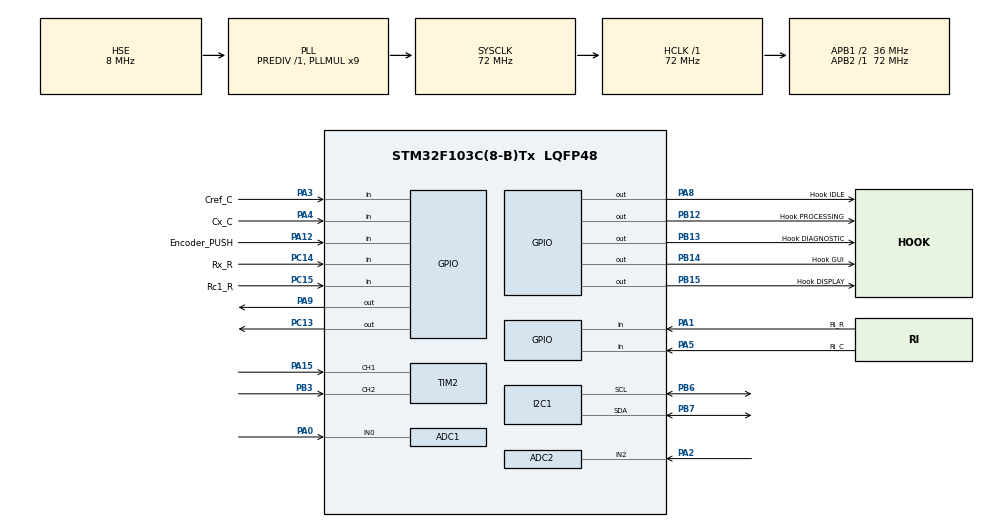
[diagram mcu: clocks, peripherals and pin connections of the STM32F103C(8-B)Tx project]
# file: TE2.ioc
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ADC1.Channel-0\#ChannelRegularConversion=ADC_CHANNEL_0
ADC1.ContinuousConvMode=ENABLE
ADC1.NbrOfConversion=1
ADC1.NbrOfConversionFlag=1
ADC1.Rank-0\#ChannelRegularConversion=1
ADC1.SamplingTime-0\#ChannelRegularConversion=ADC_SAMPLETIME_239CYCLES_5
ADC1.master=1
ADC2.Channel-4\#ChannelRegularConversion=ADC_CHANNEL_2
ADC2.ContinuousConvMode=ENABLE
ADC2.NbrOfConversionFlag=1
ADC2.Rank-4\#ChannelRegularConversion=1
ADC2.SamplingTime-4\#ChannelRegularConversion=ADC_SAMPLETIME_239CYCLES_5
FREERTOS.CountingSemaphores01=myCountingSem01,2,Dynamic,NULL,0
FREERTOS.Queues01=myQueue01,8,screenMsg_t,0,Dynamic,NULL,NULL;diag2display,8,diagnosticMsg_t,0,Dynamic,NULL,NULL;process2display,1,uint16_t,0,Dynamic,NULL,NULL;alerta,2,uint8_t,0,Dynamic,NULL,NULL
FREERTOS.Tasks01=task_DISPLAY,8,190,StartTask_DISPLAY,Default,NULL,Dynamic,NULL,NULL;Task_GUI,16,100,StartTask_GUI,Default,NULL,Dynamic,NULL,NULL;Task_DIAGNOSTIC,24,100,StartTask_DIAGNOSTIC,Default,NULL,Dynamic,NULL,NULL;Task_PROCESSING,32,100,StartTask_PROCESSING,Default,NULL,Dynamic,NULL,NULL
FREERTOS.configCHECK_FOR_STACK_OVERFLOW=1
FREERTOS.configMINIMAL_STACK_SIZE=100
FREERTOS.configRECORD_STACK_HIGH_ADDRESS=1
FREERTOS.configTOTAL_HEAP_SIZE=4096
FREERTOS.configUSE_APPLICATION_TASK_TAG=1
FREERTOS.configUSE_IDLE_HOOK=1
I2C1.I2C_Mode=I2C_Fast
Mcu.Family=STM32F1
Mcu.Name=STM32F103C(8-B)Tx
Mcu.Package=LQFP48
NVIC.PriorityGroup=NVIC_PRIORITYGROUP_4
NVIC.TIM3_IRQn=true\:5\:0\:false\:false\:true\:true\:true\:true\:true
NVIC.TIM4_IRQn=true\:15\:0\:false\:false\:true\:false\:false\:true\:true
NVIC.TimeBase=TIM4_IRQn
NVIC.TimeBaseIP=TIM4
PA0-WKUP.Signal=ADCx_IN0
PA1.GPIO_Label=Ri_R
PA1.Signal=GPIO_Input
PA12.GPIO_Label=Encoder_PUSH
PA12.GPIO_PuPd=GPIO_PULLUP
PA12.Signal=GPIO_Input
PA13.Mode=Serial_Wire
PA13.Signal=SYS_JTMS-SWDIO
PA14.Mode=Serial_Wire
PA14.Signal=SYS_JTCK-SWCLK
PA15.GPIO_PuPd=GPIO_PULLUP
PA15.Signal=S_TIM2_CH1_ETR
PA2.Signal=ADCx_IN2
PA3.GPIO_Label=Cref_C
PA3.Signal=GPIO_Input
PA4.GPIO_Label=Cx_C
PA4.Signal=GPIO_Input
PA5.GPIO_Label=Ri_C
PA5.Signal=GPIO_Input
PA8.GPIO_Label=Hook IDLE
PA8.Signal=GPIO_Output
PA9.Signal=GPIO_Output
PB12.GPIO_Label=Hook PROCESSING
PB12.Signal=GPIO_Output
PB13.GPIO_Label=Hook DIAGNOSTIC
PB13.Signal=GPIO_Output
PB14.GPIO_Label=Hook GUI
PB14.Signal=GPIO_Output
PB15.GPIO_Label=Hook DISPLAY
PB15.Signal=GPIO_Output
PB3.GPIO_PuPd=GPIO_PULLUP
PB3.Signal=S_TIM2_CH2
PB6.Mode=I2C
PB6.Signal=I2C1_SCL
PB7.Mode=I2C
PB7.Signal=I2C1_SDA
PC13-TAMPER-RTC.GPIO_PuPd=GPIO_PULLUP
PC13-TAMPER-RTC.Signal=GPIO_Output
PC14-OSC32_IN.GPIO_Label=Rx_R
PC14-OSC32_IN.Signal=GPIO_Input
PC15-OSC32_OUT.GPIO_Label=Rc1_R
PC15-OSC32_OUT.Signal=GPIO_Input
PD0-OSC_IN.Mode=HSE-External-Oscillator
PD0-OSC_IN.Signal=RCC_OSC_IN
PD1-OSC_OUT.Mode=HSE-External-Oscillator
PD1-OSC_OUT.Signal=RCC_OSC_OUT
ProjectManager.HeapSize=0x200
ProjectManager.StackSize=0x400
ProjectManager.TargetToolchain=STM32CubeIDE
RCC.ADCPresc=RCC_ADCPCLK2_DIV6
RCC.AHBFreq_Value=72000000
RCC.APB1CLKDivider=RCC_HCLK_DIV2
RCC.APB1Freq_Value=36000000
RCC.APB1TimFreq_Value=72000000
RCC.APB2Freq_Value=72000000
RCC.APB2TimFreq_Value=72000000
RCC.HCLKFreq_Value=72000000
RCC.PLLMUL=RCC_PLL_MUL9
RCC.PLLSourceVirtual=RCC_PLLSOURCE_HSE
RCC.SYSCLKFreq_VALUE=72000000
RCC.SYSCLKSource=RCC_SYSCLKSOURCE_PLLCLK
RCC.USBFreq_Value=72000000
SH.ADCx_IN0.0=ADC1_IN0,IN0
SH.ADCx_IN2.0=ADC2_IN2,IN2
SH.S_TIM2_CH1_ETR.0=TIM2_CH1,Encoder_Interface
SH.S_TIM2_CH2.0=TIM2_CH2,Encoder_Interface
TIM2.EncoderMode=TIM_ENCODERMODE_TI12
TIM2.IC1Filter=10
TIM2.IC1Polarity=TIM_ICPOLARITY_RISING
TIM2.IC2Filter=10
TIM2.IC2Polarity=TIM_ICPOLARITY_RISING
TIM3.Period=1151
TIM3.Prescaler=0
VP_FREERTOS_VS_CMSIS_V2.Mode=CMSIS_V2
VP_SYS_VS_tim4.Mode=TIM4
VP_TIM3_VS_ClockSourceINT.Mode=Internal
board=custom

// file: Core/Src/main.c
/* USER CODE BEGIN Header */
/**
  ******************************************************************************
  * @file           : main.c
  * @brief          : Main program body
  ******************************************************************************
  * @attention
  *
  * Copyright (c) 2026 STMicroelectronics.
  * All rights reserved.
  *
  * This software is licensed under terms that can be found in the LICENSE file
  * in the root directory of this software component.
  * If no LICENSE file comes with this software, it is provided AS-IS.
  *
  ******************************************************************************
  */
/* USER CODE END Header */
#include "main.h"
#include "cmsis_os.h"

/* USER CODE BEGIN Includes */
#include "ssd1306.h"
#include "fonts.h"
#include <string.h>
#include "stdio.h"
/* USER CODE END Includes */

/* USER CODE BEGIN PTD */
typedef enum{
//	STAGE_NONE,
	STAGE_1,
	STAGE_2,
	STAGE_3,
	STAGE_4
} stage_t;
typedef enum{
	NONE,
	RESISTENCIA,
	CAPACITOR
} parametro_t;

typedef enum {
    STATE_IDLE,
    STATE_MENU,
    STATE_SUBMENU,
    STATE_RUN,
    STATE_DIAGNOSTIC,
} FSMState;

typedef enum{
	alerta_NONE,
	alerta_StackDISPLAY,
	alerta_StackGUI,
	alerta_StackDIAGNOSTIC,
	alerta_StackPROCESSING,
	alerta_HEAP,
	alerta_FU
} codigoERROR;

typedef struct {
	uint16_t WaterMark_DISPLAY;
	uint16_t WaterMark_GUI;
	uint16_t WaterMark_DIAGNOSTIC;
	uint16_t WaterMark_PROCESSING;
	uint16_t stack_DISPLAY;
	uint16_t stack_GUI;
	uint16_t stack_DIAGNOSTIC;
	uint16_t stack_PROCESSING;
	uint16_t libre_HEAP;
	uint16_t FU;
	uint16_t max_HEAP;
	uint16_t max_FU;
} diagnosticMsg_t;

typedef enum {
    EVENT_NINGUNO,
    EVENT_PUSH,
    EVENT_H,
    EVENT_AH,
    EVENT_ERROR
} FSMEvent;

typedef struct {
    FSMState estado;
    uint8_t pagina;
} screenMsg_t;

typedef enum {
	PAG_CONFIG,		//0
	PAG_DIAG,		//1
	PAG_RUN,		//2
	PAG_RES,		//3
	PAG_CAP,		//4
	PAG_T1,			//5
	PAG_T2,			//6
	PAG_T3,			//7
	PAG_T4,			//8
	PAG_HEAP,		//9
	PAG_FACU		//10
}page_t;

typedef enum{
	STAGE_1_R,
	STAGE_2_R,
	STAGE_3_R,
	STAGE_4_R,
	STAGE_1_C,
	STAGE_2_C,
	STAGE_3_C,
	STAGE_4_C
} GPIO_CONFIG;

/* USER CODE END PTD */

/* USER CODE BEGIN PD */

// PERIODICAS
#define DIAG_PERIODO_MS 50
#define GUI_PERIODO_MS 20

// FU
#define SCALING_FACTOR (1000 / DIAG_PERIODO_MS)

// HOOKS
#define GPIO_HOOK_IDLE GPIOA
#define GPIO_HOOK_IDLE_PIN GPIO_PIN_8
#define GPIO_HOOK_DISPLAY GPIOB
#define GPIO_HOOK_DISPLAY_PIN GPIO_PIN_15
#define GPIO_HOOK_GUI GPIOB
#define GPIO_HOOK_GUI_PIN GPIO_PIN_14
#define GPIO_HOOK_DIAGNOSTIC GPIOB
#define GPIO_HOOK_DIAGNOSTIC_PIN GPIO_PIN_13
#define GPIO_HOOK_PROCESSING GPIOB
#define GPIO_HOOK_PROCESSING_PIN GPIO_PIN_12

// GPIOs CONTROL RES
#define GPIO_Rx GPIOC
#define GPIO_Rx_pin GPIO_PIN_14
#define GPIO_Rc1 GPIOC
#define GPIO_Rc1_pin GPIO_PIN_15
#define GPIO_Ri_R GPIOA
#define GPIO_Ri_R_pin GPIO_PIN_1
// GPIOs CONTROL CAP
#define GPIO_Cx GPIOA
#define GPIO_Cx_pin GPIO_PIN_4
#define GPIO_Cref GPIOA
#define GPIO_Cref_pin GPIO_PIN_3
#define GPIO_Ri_C GPIOA
#define GPIO_Ri_C_pin GPIO_PIN_5

// PARA CONFIGURACION DE ADC
#define ADC_MAX (uint16_t)4095
#define ADC_95 (uint16_t)3890        // 12 bits ADC -> [(2^12)-1]0.95 = 3890
#define ADC_63 (uint16_t)2580         // 12 bits ADC -> [(2^12)-1]0.63 = 2580
#define ADC_02 (uint8_t)82             // 12 bits ADC -> [(2^12)-1]*0.63 = 82
#define SAMPLES (uint8_t)32
#define ADC_TMAX_CAP (uint16_t)10000

//PARA ALARMA HEAP, STACK y FU
#define STACK_UMBRAL 5// porcentaje del stack minimo que consideramos limite umbral para msj de error
#define HEAP_UMBRAL	100//
//#define STACK_MAX (uint16_t)10 // Task_PROCESSING_attributes.stack_size/10

#define DEBOUNCE_DELAY 600

#define DIV_2(x) ((x) >> 1)
#define DIV_4(x) ((x) >> 2)

#define WINDOW_SIZE 20

/* USER CODE END PD */

ADC_HandleTypeDef hadc1;
ADC_HandleTypeDef hadc2;

I2C_HandleTypeDef hi2c1;

TIM_HandleTypeDef htim2;
TIM_HandleTypeDef htim3;

/* Definitions for task_DISPLAY */
osThreadId_t task_DISPLAYHandle;
const osThreadAttr_t task_DISPLAY_attributes = {
  .name = "task_DISPLAY",
  .stack_size = 190 * 4,
  .priority = (osPriority_t) osPriorityLow,
};
/* Definitions for Task_GUI */
osThreadId_t Task_GUIHandle;
const osThreadAttr_t Task_GUI_attributes = {
  .name = "Task_GUI",
  .stack_size = 100 * 4,
  .priority = (osPriority_t) osPriorityBelowNormal,
};
/* Definitions for Task_DIAGNOSTIC */
osThreadId_t Task_DIAGNOSTICHandle;
const osThreadAttr_t Task_DIAGNOSTIC_attributes = {
  .name = "Task_DIAGNOSTIC",
  .stack_size = 100 * 4,
  .priority = (osPriority_t) osPriorityNormal,
};
/* Definitions for Task_PROCESSING */
osThreadId_t Task_PROCESSINGHandle;
const osThreadAttr_t Task_PROCESSING_attributes = {
  .name = "Task_PROCESSING",
  .stack_size = 100 * 4,
  .priority = (osPriority_t) osPriorityAboveNormal,
};
/* Definitions for myQueue01 */
osMessageQueueId_t myQueue01Handle;
const osMessageQueueAttr_t myQueue01_attributes = {
  .name = "myQueue01"
};
/* Definitions for diag2display */
osMessageQueueId_t diag2displayHandle;
const osMessageQueueAttr_t diag2display_attributes = {
  .name = "diag2display"
};
/* Definitions for process2display */
osMessageQueueId_t process2displayHandle;
const osMessageQueueAttr_t process2display_attributes = {
  .name = "process2display"
};
/* Definitions for alerta */
osMessageQueueId_t alertaHandle;
const osMessageQueueAttr_t alerta_attributes = {
  .name = "alerta"
};
/* Definitions for myCountingSem01 */
osSemaphoreId_t myCountingSem01Handle;
const osSemaphoreAttr_t myCountingSem01_attributes = {
  .name = "myCountingSem01"
};
/* USER CODE BEGIN PV */
volatile uint32_t counter_global = 0;
volatile float count_Nx_global = 0;
volatile float count_Nc_global = 0;
volatile uint16_t resultado_global = 0;
parametro_t param_a_medir_global = NONE;

uint16_t adc_buffer[WINDOW_SIZE] = {0}; // Inicializado en 0
uint8_t buffer_index = 0;
uint32_t running_sum = 0;               // Debe ser lo suficientemente grande para no desbordarse

volatile page_t page = PAG_CONFIG;       // 0: Config, 1: Diag, 2: Run
//uint32_t libre_DISPLAY;
//uint32_t libre_GUI;
//uint32_t libre_DIAGNOSTIC;
//uint32_t libre_PROCESSING;
//uint32_t libre_HEAP;
//uint32_t FACU;
uint32_t ticks_idle_acumulados;
uint32_t ticks_entrada_idle;
uint32_t ticks_salida_idle;
extern osMessageQueueId_t screenQueueHandle;
//extern osSemaphoreId_t    medicionSemHandle;
/* USER CODE END PV */

void SystemClock_Config(void);
static void MX_GPIO_Init(void);
static void MX_ADC1_Init(void);
static void MX_I2C1_Init(void);
static void MX_TIM2_Init(void);
static void MX_ADC2_Init(void);
static void MX_TIM3_Init(void);
void StartTask_DISPLAY(void *argument);
void StartTask_GUI(void *argument);
void StartTask_DIAGNOSTIC(void *argument);
void StartTask_PROCESSING(void *argument);

/* USER CODE BEGIN PFP */
FSMState fsm_process_event(FSMState current, FSMEvent event);
FSMEvent Leer_Hardware_Encoder(void);
uint8_t SSD1306_remap(uint16_t value);

/* USER CODE END PFP */

int main(void)
{

  /* MCU Configuration--------------------------------------------------------*/

  /* Reset of all peripherals, Initializes the Flash interface and the Systick. */
  HAL_Init();

  /* Configure the system clock */
  SystemClock_Config();

  /* Initialize all configured peripherals */
  MX_GPIO_Init();
  MX_ADC1_Init();
  MX_I2C1_Init();
  MX_TIM2_Init();
  MX_ADC2_Init();
  MX_TIM3_Init();
  /* USER CODE BEGIN 2 */
//  HAL_TIM_Encoder_Start(&htim2, TIM_CHANNEL_ALL);
  //SSD1306_Init();
  /* USER CODE END 2 */

  /* Init scheduler */
  osKernelInitialize();

  /* Create the semaphores(s) */
  /* creation of myCountingSem01 */
  myCountingSem01Handle = osSemaphoreNew(2, 0, &myCountingSem01_attributes);

  /* Create the queue(s) */
  /* creation of myQueue01 */
  myQueue01Handle = osMessageQueueNew (8, sizeof(screenMsg_t), &myQueue01_attributes);

  /* creation of diag2display */
  diag2displayHandle = osMessageQueueNew (8, sizeof(diagnosticMsg_t), &diag2display_attributes);

  /* creation of process2display */
  process2displayHandle = osMessageQueueNew (1, sizeof(uint16_t), &process2display_attributes);

  /* creation of alerta */
  alertaHandle = osMessageQueueNew (2, sizeof(uint8_t), &alerta_attributes);

  /* Create the thread(s) */
  /* creation of task_DISPLAY */
  task_DISPLAYHandle = osThreadNew(StartTask_DISPLAY, NULL, &task_DISPLAY_attributes);

  /* creation of Task_GUI */
  Task_GUIHandle = osThreadNew(StartTask_GUI, NULL, &Task_GUI_attributes);

  /* creation of Task_DIAGNOSTIC */
  Task_DIAGNOSTICHandle = osThreadNew(StartTask_DIAGNOSTIC, NULL, &Task_DIAGNOSTIC_attributes);

  /* creation of Task_PROCESSING */
  Task_PROCESSINGHandle = osThreadNew(StartTask_PROCESSING, NULL, &Task_PROCESSING_attributes);

  /* Start scheduler */
  osKernelStart();

  /* We should never get here as control is now taken by the scheduler */

  /* Infinite loop */
  while (1)
  {

  }
}

void SystemClock_Config(void)
{
  RCC_OscInitTypeDef RCC_OscInitStruct = {0};
  RCC_ClkInitTypeDef RCC_ClkInitStruct = {0};
  RCC_PeriphCLKInitTypeDef PeriphClkInit = {0};

  /** Initializes the RCC Oscillators according to the specified parameters
  * in the RCC_OscInitTypeDef structure.
  */
  RCC_OscInitStruct.OscillatorType = RCC_OSCILLATORTYPE_HSE;
  RCC_OscInitStruct.HSEState = RCC_HSE_ON;
  RCC_OscInitStruct.HSEPredivValue = RCC_HSE_PREDIV_DIV1;
  RCC_OscInitStruct.HSIState = RCC_HSI_ON;
  RCC_OscInitStruct.PLL.PLLState = RCC_PLL_ON;
  RCC_OscInitStruct.PLL.PLLSource = RCC_PLLSOURCE_HSE;
  RCC_OscInitStruct.PLL.PLLMUL = RCC_PLL_MUL9;
  if (HAL_RCC_OscConfig(&RCC_OscInitStruct) != HAL_OK)
  {
    Error_Handler();
  }

  /** Initializes the CPU, AHB and APB buses clocks
  */
  RCC_ClkInitStruct.ClockType = RCC_CLOCKTYPE_HCLK|RCC_CLOCKTYPE_SYSCLK
                              |RCC_CLOCKTYPE_PCLK1|RCC_CLOCKTYPE_PCLK2;
  RCC_ClkInitStruct.SYSCLKSource = RCC_SYSCLKSOURCE_PLLCLK;
  RCC_ClkInitStruct.AHBCLKDivider = RCC_SYSCLK_DIV1;
  RCC_ClkInitStruct.APB1CLKDivider = RCC_HCLK_DIV2;
  RCC_ClkInitStruct.APB2CLKDivider = RCC_HCLK_DIV1;

  if (HAL_RCC_ClockConfig(&RCC_ClkInitStruct, FLASH_LATENCY_2) != HAL_OK)
  {
    Error_Handler();
  }
  PeriphClkInit.PeriphClockSelection = RCC_PERIPHCLK_ADC;
  PeriphClkInit.AdcClockSelection = RCC_ADCPCLK2_DIV6;
  if (HAL_RCCEx_PeriphCLKConfig(&PeriphClkInit) != HAL_OK)
  {
    Error_Handler();
  }
}

static void MX_ADC1_Init(void)
{

  ADC_ChannelConfTypeDef sConfig = {0};

  /** Common config
  */
  hadc1.Instance = ADC1;
  hadc1.Init.ScanConvMode = ADC_SCAN_DISABLE;
  hadc1.Init.ContinuousConvMode = ENABLE;
  hadc1.Init.DiscontinuousConvMode = DISABLE;
  hadc1.Init.ExternalTrigConv = ADC_SOFTWARE_START;
  hadc1.Init.DataAlign = ADC_DATAALIGN_RIGHT;
  hadc1.Init.NbrOfConversion = 1;
  if (HAL_ADC_Init(&hadc1) != HAL_OK)
  {
    Error_Handler();
  }

  /** Configure Regular Channel
  */
  sConfig.Channel = ADC_CHANNEL_0;
  sConfig.Rank = ADC_REGULAR_RANK_1;
  sConfig.SamplingTime = ADC_SAMPLETIME_239CYCLES_5;
  if (HAL_ADC_ConfigChannel(&hadc1, &sConfig) != HAL_OK)
  {
    Error_Handler();
  }

}

static void MX_ADC2_Init(void)
{

  ADC_ChannelConfTypeDef sConfig = {0};

  /** Common config
  */
  hadc2.Instance = ADC2;
  hadc2.Init.ScanConvMode = ADC_SCAN_DISABLE;
  hadc2.Init.ContinuousConvMode = ENABLE;
  hadc2.Init.DiscontinuousConvMode = DISABLE;
  hadc2.Init.ExternalTrigConv = ADC_SOFTWARE_START;
  hadc2.Init.DataAlign = ADC_DATAALIGN_RIGHT;
  hadc2.Init.NbrOfConversion = 1;
  if (HAL_ADC_Init(&hadc2) != HAL_OK)
  {
    Error_Handler();
  }

  /** Configure Regular Channel
  */
  sConfig.Channel = ADC_CHANNEL_2;
  sConfig.Rank = ADC_REGULAR_RANK_1;
  sConfig.SamplingTime = ADC_SAMPLETIME_239CYCLES_5;
  if (HAL_ADC_ConfigChannel(&hadc2, &sConfig) != HAL_OK)
  {
    Error_Handler();
  }

}

static void MX_I2C1_Init(void)
{

  hi2c1.Instance = I2C1;
  hi2c1.Init.ClockSpeed = 400000;
  hi2c1.Init.DutyCycle = I2C_DUTYCYCLE_2;
  hi2c1.Init.OwnAddress1 = 0;
  hi2c1.Init.AddressingMode = I2C_ADDRESSINGMODE_7BIT;
  hi2c1.Init.DualAddressMode = I2C_DUALADDRESS_DISABLE;
  hi2c1.Init.OwnAddress2 = 0;
  hi2c1.Init.GeneralCallMode = I2C_GENERALCALL_DISABLE;
  hi2c1.Init.NoStretchMode = I2C_NOSTRETCH_DISABLE;
  if (HAL_I2C_Init(&hi2c1) != HAL_OK)
  {
    Error_Handler();
  }

}

static void MX_TIM2_Init(void)
{

  TIM_Encoder_InitTypeDef sConfig = {0};
  TIM_MasterConfigTypeDef sMasterConfig = {0};

  htim2.Instance = TIM2;
  htim2.Init.Prescaler = 0;
  htim2.Init.CounterMode = TIM_COUNTERMODE_UP;
  htim2.Init.Period = 65535;
  htim2.Init.ClockDivision = TIM_CLOCKDIVISION_DIV1;
  htim2.Init.AutoReloadPreload = TIM_AUTORELOAD_PRELOAD_DISABLE;
  sConfig.EncoderMode = TIM_ENCODERMODE_TI12;
  sConfig.IC1Polarity = TIM_ICPOLARITY_RISING;
  sConfig.IC1Selection = TIM_ICSELECTION_DIRECTTI;
  sConfig.IC1Prescaler = TIM_ICPSC_DIV1;
  sConfig.IC1Filter = 10;
  sConfig.IC2Polarity = TIM_ICPOLARITY_RISING;
  sConfig.IC2Selection = TIM_ICSELECTION_DIRECTTI;
  sConfig.IC2Prescaler = TIM_ICPSC_DIV1;
  sConfig.IC2Filter = 10;
  if (HAL_TIM_Encoder_Init(&htim2, &sConfig) != HAL_OK)
  {
    Error_Handler();
  }
  sMasterConfig.MasterOutputTrigger = TIM_TRGO_RESET;
  sMasterConfig.MasterSlaveMode = TIM_MASTERSLAVEMODE_DISABLE;
  if (HAL_TIMEx_MasterConfigSynchronization(&htim2, &sMasterConfig) != HAL_OK)
  {
    Error_Handler();
  }

}

static void MX_TIM3_Init(void)
{

  TIM_ClockConfigTypeDef sClockSourceConfig = {0};
  TIM_MasterConfigTypeDef sMasterConfig = {0};

  htim3.Instance = TIM3;
  htim3.Init.Prescaler = 0;
  htim3.Init.CounterMode = TIM_COUNTERMODE_UP;
  htim3.Init.Period = 1151;
  htim3.Init.ClockDivision = TIM_CLOCKDIVISION_DIV1;
  htim3.Init.AutoReloadPreload = TIM_AUTORELOAD_PRELOAD_DISABLE;
  if (HAL_TIM_Base_Init(&htim3) != HAL_OK)
  {
    Error_Handler();
  }
  sClockSourceConfig.ClockSource = TIM_CLOCKSOURCE_INTERNAL;
  if (HAL_TIM_ConfigClockSource(&htim3, &sClockSourceConfig) != HAL_OK)
  {
    Error_Handler();
  }
  sMasterConfig.MasterOutputTrigger = TIM_TRGO_RESET;
  sMasterConfig.MasterSlaveMode = TIM_MASTERSLAVEMODE_DISABLE;
  if (HAL_TIMEx_MasterConfigSynchronization(&htim3, &sMasterConfig) != HAL_OK)
  {
    Error_Handler();
  }

}

static void MX_GPIO_Init(void)
{
  GPIO_InitTypeDef GPIO_InitStruct = {0};

  /* GPIO Ports Clock Enable */
  __HAL_RCC_GPIOC_CLK_ENABLE();
  __HAL_RCC_GPIOD_CLK_ENABLE();
  __HAL_RCC_GPIOA_CLK_ENABLE();
  __HAL_RCC_GPIOB_CLK_ENABLE();

  /*Configure GPIO pin Output Level */
  HAL_GPIO_WritePin(GPIOC, GPIO_PIN_13, GPIO_PIN_RESET);

  /*Configure GPIO pin Output Level */
  HAL_GPIO_WritePin(GPIOB, Hook_PROCESSING_Pin|Hook_DIAGNOSTIC_Pin|Hook_GUI_Pin|Hook_DISPLAY_Pin, GPIO_PIN_RESET);

  /*Configure GPIO pin Output Level */
  HAL_GPIO_WritePin(GPIOA, Hook_IDLE_Pin|GPIO_PIN_9, GPIO_PIN_RESET);

  /*Configure GPIO pin : PC13 */
  GPIO_InitStruct.Pin = GPIO_PIN_13;
  GPIO_InitStruct.Mode = GPIO_MODE_OUTPUT_PP;
  GPIO_InitStruct.Pull = GPIO_PULLUP;
  GPIO_InitStruct.Speed = GPIO_SPEED_FREQ_LOW;
  HAL_GPIO_Init(GPIOC, &GPIO_InitStruct);

  /*Configure GPIO pins : Rx_R_Pin Rc1_R_Pin */
  GPIO_InitStruct.Pin = Rx_R_Pin|Rc1_R_Pin;
  GPIO_InitStruct.Mode = GPIO_MODE_INPUT;
  GPIO_InitStruct.Pull = GPIO_NOPULL;
  HAL_GPIO_Init(GPIOC, &GPIO_InitStruct);

  /*Configure GPIO pins : Ri_R_Pin Cref_C_Pin Cx_C_Pin Ri_C_Pin */
  GPIO_InitStruct.Pin = Ri_R_Pin|Cref_C_Pin|Cx_C_Pin|Ri_C_Pin;
  GPIO_InitStruct.Mode = GPIO_MODE_INPUT;
  GPIO_InitStruct.Pull = GPIO_NOPULL;
  HAL_GPIO_Init(GPIOA, &GPIO_InitStruct);

  /*Configure GPIO pins : Hook_PROCESSING_Pin Hook_DIAGNOSTIC_Pin Hook_GUI_Pin Hook_DISPLAY_Pin */
  GPIO_InitStruct.Pin = Hook_PROCESSING_Pin|Hook_DIAGNOSTIC_Pin|Hook_GUI_Pin|Hook_DISPLAY_Pin;
  GPIO_InitStruct.Mode = GPIO_MODE_OUTPUT_PP;
  GPIO_InitStruct.Pull = GPIO_NOPULL;
  GPIO_InitStruct.Speed = GPIO_SPEED_FREQ_LOW;
  HAL_GPIO_Init(GPIOB, &GPIO_InitStruct);

  /*Configure GPIO pins : Hook_IDLE_Pin PA9 */
  GPIO_InitStruct.Pin = Hook_IDLE_Pin|GPIO_PIN_9;
  GPIO_InitStruct.Mode = GPIO_MODE_OUTPUT_PP;
  GPIO_InitStruct.Pull = GPIO_NOPULL;
  GPIO_InitStruct.Speed = GPIO_SPEED_FREQ_LOW;
  HAL_GPIO_Init(GPIOA, &GPIO_InitStruct);

  /*Configure GPIO pin : Encoder_PUSH_Pin */
  GPIO_InitStruct.Pin = Encoder_PUSH_Pin;
  GPIO_InitStruct.Mode = GPIO_MODE_INPUT;
  GPIO_InitStruct.Pull = GPIO_PULLUP;
  HAL_GPIO_Init(Encoder_PUSH_GPIO_Port, &GPIO_InitStruct);

}

/* USER CODE BEGIN 4 */
FSMState fsm_process_event(FSMState current, FSMEvent event) {
    FSMState next = current;
//    RECORDAR USAR VARIABLE LOCAL PARA EVITAR LEER Y ESCRIBIR AL MISMO TIEMPO VARIABLE GLOBAL
//    parametro_t param_a_medir_local;

    switch (current) {
        case STATE_IDLE:
            if (event == EVENT_PUSH) {
                page = PAG_CONFIG;
                next = STATE_MENU;
            }
            break;

        case STATE_MENU:
            if (event == EVENT_H)  page = (page + 1) % 3;
            if (event == EVENT_AH) page = (page + 2) % 3; // Evita índices negativos
            if (event == EVENT_PUSH) {
                if (page == PAG_CONFIG)      { page = PAG_RES; next = STATE_SUBMENU; }
                else if (page == PAG_DIAG) { page = PAG_T1; next = STATE_DIAGNOSTIC; }
                else if (page == PAG_RUN) {

                	next = STATE_RUN; }
            }
            break;

        case STATE_SUBMENU:
            if (event == EVENT_H)  page = PAG_RES + (page-(PAG_RES-1) ) % 2;
            if (event == EVENT_AH) page = PAG_RES + (page-(PAG_RES-1) ) % 2; // Alterna entre 0 y 1
            if (event == EVENT_PUSH) {
                // Acá podés guardar tu variable global: ej. tipo_medicion = subpage;
				switch (page) {
					case PAG_RES:
						param_a_medir_global = RESISTENCIA;
						//param_a_medir_local = RESISTENCIA;
						break;
					case PAG_CAP:
						param_a_medir_global = CAPACITOR;
						//param_a_medir_local = CAPACITOR;
						break;
					default: break;
					}
				next = STATE_MENU;
				page = PAG_CONFIG; //SE RESETEA LA PAGINA PORQUE SE SALE DEL SUBMENÚ AL MENÚ.
            }
            break;

        case STATE_RUN:
            if (event == EVENT_PUSH){
            	param_a_medir_global = NONE;
            	next = STATE_MENU;
            }
            break;

        case STATE_DIAGNOSTIC:
            if (event == EVENT_H) page = PAG_T1 + (page - (PAG_T1 - 1)) % 6;
            if (event == EVENT_AH) page = PAG_FACU - ((PAG_FACU + 1) - page) % 6;
            if (event == EVENT_PUSH){
            		next = STATE_MENU;
            		page = PAG_CONFIG;
            }
            break;

        default: break;
    }
//    RECORDAR USAR VARIABLE LOCAL PARA EVITAR LEER Y ESCRIBIR AL MISMO TIEMPO VARIABLE GLOBAL
//    param_a_medir_global = param_a_medir_local;
    return next;
}

FSMEvent Leer_Hardware_Encoder(void) {
    static int32_t cnt_anterior = 0;
    // Leemos el contador del Timer (reemplazá htim2 por el tuyo)
    int32_t cnt_actual = (int32_t)__HAL_TIM_GET_COUNTER(&htim2);
    FSMEvent evento = EVENT_NINGUNO;

    // 1. Detección de Giro (gracias a los Pull-Ups ya no oscilará solo)
    if (cnt_actual != cnt_anterior) {
		if (cnt_actual > (cnt_anterior + 3)) {
			evento = EVENT_H;
			 cnt_anterior = cnt_actual;
		}

		if (cnt_actual < (cnt_anterior - 3)) {
			evento = EVENT_AH;
		 cnt_anterior = cnt_actual;
		}
    }

	if (HAL_GPIO_ReadPin(GPIOA, GPIO_PIN_12) == GPIO_PIN_RESET){
//		HAL_Delay(300);
//		osDelay(300);
		static uint32_t last_time_pushed = 0;
		uint32_t current_time = osKernelGetTickCount(); //

		if (current_time - last_time_pushed > DEBOUNCE_DELAY){
			evento = EVENT_PUSH;
			HAL_GPIO_TogglePin(GPIOC, GPIO_PIN_13);
			last_time_pushed = current_time;
		}

//		osDelay(50);
//		HAL_Delay(30);
	}

//    // 2. Detección del botón PUSH (Pin con Pull-Up activo, entrada en BAJO al presionar)
//    static uint8_t boton_presionado = 0;
//    if (HAL_GPIO_ReadPin(GPIOA, GPIO_PIN_12) == GPIO_PIN_RESET) { // Reemplazá por tu pin
//        if (!boton_presionado) {
//            boton_presionado = 1;
//            evento = EVENT_PUSH;
//        }
//    } else {
//        boton_presionado = 0;
//    }
    return evento;
}

void callback_in(int tag){
	switch (tag){
	case TAG_TASK_IDLE:
		HAL_GPIO_WritePin(GPIO_HOOK_IDLE, GPIO_HOOK_IDLE_PIN, GPIO_PIN_SET);
		// contamos la cantidad de ticks dentro de IDLE
		ticks_entrada_idle = osKernelGetTickCount();
		break;
	case TAG_TASK_DISPLAY: HAL_GPIO_WritePin(GPIO_HOOK_DISPLAY, GPIO_HOOK_DISPLAY_PIN, GPIO_PIN_SET); break;
	case TAG_TASK_GUI: HAL_GPIO_WritePin(GPIO_HOOK_GUI, GPIO_HOOK_GUI_PIN, GPIO_PIN_SET); break;
	case TAG_TASK_DIAGNOSTIC: HAL_GPIO_WritePin(GPIO_HOOK_DIAGNOSTIC, GPIO_HOOK_DIAGNOSTIC_PIN, GPIO_PIN_SET); break;
	case TAG_TASK_PROCESSING: HAL_GPIO_WritePin(GPIO_HOOK_PROCESSING, GPIO_HOOK_PROCESSING_PIN, GPIO_PIN_SET); break;
	}
}

void callback_out(int tag){
	switch (tag){
	case TAG_TASK_IDLE:
		HAL_GPIO_WritePin(GPIO_HOOK_IDLE, GPIO_HOOK_IDLE_PIN, GPIO_PIN_RESET);
		ticks_salida_idle = osKernelGetTickCount();
		if (ticks_salida_idle >= ticks_entrada_idle){ticks_idle_acumulados += (ticks_salida_idle - ticks_entrada_idle);}
		break;
	case TAG_TASK_DISPLAY: HAL_GPIO_WritePin(GPIO_HOOK_DISPLAY, GPIO_HOOK_DISPLAY_PIN, GPIO_PIN_RESET); break;
	case TAG_TASK_GUI: HAL_GPIO_WritePin(GPIO_HOOK_GUI, GPIO_HOOK_GUI_PIN, GPIO_PIN_RESET); break;
	case TAG_TASK_DIAGNOSTIC: HAL_GPIO_WritePin(GPIO_HOOK_DIAGNOSTIC, GPIO_HOOK_DIAGNOSTIC_PIN, GPIO_PIN_RESET); break;
	case TAG_TASK_PROCESSING: HAL_GPIO_WritePin(GPIO_HOOK_PROCESSING, GPIO_HOOK_PROCESSING_PIN, GPIO_PIN_RESET); break;
	}
}

void set_all_hiz() {
	// Pone a todos usados los GPIOS en alta impedancia (input NO pullup ni pulldown)

	GPIO_InitTypeDef GPIO_InitStruct;

	/*Configure GPIO pin : PC14 */
	GPIO_InitStruct.Pin = GPIO_Rx_pin;
	GPIO_InitStruct.Mode = GPIO_MODE_INPUT;
	GPIO_InitStruct.Pull = GPIO_NOPULL;
	HAL_GPIO_Init(GPIO_Rx, &GPIO_InitStruct);

	/*Configure GPIO pins : PC15*/
	GPIO_InitStruct.Pin = GPIO_Rc1_pin;
	GPIO_InitStruct.Mode = GPIO_MODE_INPUT;
	GPIO_InitStruct.Pull = GPIO_NOPULL;
	HAL_GPIO_Init(GPIO_Rc1, &GPIO_InitStruct);

	/*Configure GPIO pins : PA1*/
	GPIO_InitStruct.Pin = GPIO_Ri_R_pin;
	GPIO_InitStruct.Mode = GPIO_MODE_INPUT;
	GPIO_InitStruct.Pull = GPIO_NOPULL;
	HAL_GPIO_Init(GPIO_Ri_R, &GPIO_InitStruct);

	/*Configure GPIO pin : PA3 */
	GPIO_InitStruct.Pin = GPIO_Cref_pin;
	GPIO_InitStruct.Mode = GPIO_MODE_INPUT;
	GPIO_InitStruct.Pull = GPIO_NOPULL;
	HAL_GPIO_Init(GPIO_Cref, &GPIO_InitStruct);

	/*Configure GPIO pins : PA4*/
	GPIO_InitStruct.Pin = GPIO_Cx_pin;
	GPIO_InitStruct.Mode = GPIO_MODE_INPUT;
	GPIO_InitStruct.Pull = GPIO_NOPULL;
	HAL_GPIO_Init(GPIO_Cx, &GPIO_InitStruct);

	/*Configure GPIO pins : PA5*/
	GPIO_InitStruct.Pin = GPIO_Ri_C_pin;
	GPIO_InitStruct.Mode = GPIO_MODE_INPUT;
	GPIO_InitStruct.Pull = GPIO_NOPULL;
	HAL_GPIO_Init(GPIO_Ri_C, &GPIO_InitStruct);
}

void adj_GPIO(GPIO_CONFIG n) {

	GPIO_InitTypeDef GPIO_InitStruct;
	set_all_hiz();

	switch ((uint8_t) n) {
	case STAGE_1_R:
		HAL_GPIO_DeInit(GPIO_Ri_R, GPIO_Ri_R_pin);
		GPIO_InitStruct.Pin = GPIO_Ri_R_pin;
		GPIO_InitStruct.Mode = GPIO_MODE_OUTPUT_PP;
		GPIO_InitStruct.Speed = GPIO_SPEED_FREQ_LOW; // mier. parece que si no definis todos los apartados (me faltaba la velocidad) no funciona bien la inicializacion
		HAL_GPIO_Init(GPIO_Ri_R, &GPIO_InitStruct);
		HAL_GPIO_WritePin(GPIO_Ri_R, GPIO_Ri_R_pin, GPIO_PIN_SET);
		break;

	case STAGE_2_R:
		HAL_GPIO_DeInit(GPIO_Rx, GPIO_Rx_pin);
		GPIO_InitStruct.Pin = GPIO_Rx_pin;
		GPIO_InitStruct.Mode = GPIO_MODE_OUTPUT_PP;
		GPIO_InitStruct.Speed = GPIO_SPEED_FREQ_LOW; // mier. parece que si no definis todos los apartados (me faltaba la velocidad) no funciona bien la inicializacion
		HAL_GPIO_Init(GPIO_Rx, &GPIO_InitStruct);
		HAL_GPIO_WritePin(GPIO_Rx, GPIO_Rx_pin, GPIO_PIN_RESET);
		break;

	case STAGE_3_R:
		HAL_GPIO_DeInit(GPIO_Ri_R, GPIO_Ri_R_pin);
		GPIO_InitStruct.Pin = GPIO_Ri_R_pin;
		GPIO_InitStruct.Mode = GPIO_MODE_OUTPUT_PP;
		GPIO_InitStruct.Speed = GPIO_SPEED_FREQ_LOW; // mier. parece que si no definis todos los apartados (me faltaba la velocidad) no funciona bien la inicializacion
		HAL_GPIO_Init(GPIO_Ri_R, &GPIO_InitStruct);
		HAL_GPIO_WritePin(GPIO_Ri_R, GPIO_Ri_R_pin, GPIO_PIN_SET);
		break;

	case STAGE_4_R:
		HAL_GPIO_DeInit(GPIO_Rc1, GPIO_Rc1_pin);
		GPIO_InitStruct.Pin = GPIO_Rc1_pin;
		GPIO_InitStruct.Mode = GPIO_MODE_OUTPUT_PP;
		GPIO_InitStruct.Speed = GPIO_SPEED_FREQ_LOW; // mier. parece que si no definis todos los apartados (me faltaba la velocidad) no funciona bien la inicializacion
		HAL_GPIO_Init(GPIO_Rc1, &GPIO_InitStruct);
		HAL_GPIO_WritePin(GPIO_Rc1, GPIO_Rc1_pin, GPIO_PIN_RESET);
		break;

	case STAGE_1_C:
		HAL_GPIO_DeInit(GPIO_Ri_C, GPIO_Ri_C_pin);
		GPIO_InitStruct.Pin = GPIO_Ri_C_pin;
		GPIO_InitStruct.Mode = GPIO_MODE_OUTPUT_PP;
		GPIO_InitStruct.Speed = GPIO_SPEED_FREQ_LOW; // mier. parece que si no definis todos los apartados (me faltaba la velocidad) no funciona bien la inicializacion
		HAL_GPIO_Init(GPIO_Ri_C, &GPIO_InitStruct);
		HAL_GPIO_WritePin(GPIO_Ri_C, GPIO_Ri_C_pin, GPIO_PIN_SET);

		HAL_GPIO_DeInit(GPIO_Cx, GPIO_Cx_pin);
		GPIO_InitStruct.Pin = GPIO_Cx_pin;
		GPIO_InitStruct.Mode = GPIO_MODE_OUTPUT_PP;
		GPIO_InitStruct.Speed = GPIO_SPEED_FREQ_LOW; // mier. parece que si no definis todos los apartados (me faltaba la velocidad) no funciona bien la inicializacion
		HAL_GPIO_Init(GPIO_Cx, &GPIO_InitStruct);
		HAL_GPIO_WritePin(GPIO_Cx, GPIO_Cx_pin, GPIO_PIN_RESET);
		break;

	case STAGE_2_C:
		HAL_GPIO_DeInit(GPIO_Cx, GPIO_Cx_pin);
		GPIO_InitStruct.Pin = GPIO_Cx_pin;
		GPIO_InitStruct.Mode = GPIO_MODE_OUTPUT_PP;
		GPIO_InitStruct.Speed = GPIO_SPEED_FREQ_LOW; // mier. parece que si no definis todos los apartados (me faltaba la velocidad) no funciona bien la inicializacion
		HAL_GPIO_Init(GPIO_Cx, &GPIO_InitStruct);
		HAL_GPIO_WritePin(GPIO_Cx, GPIO_Cx_pin, GPIO_PIN_RESET);
		break;

	case STAGE_3_C:
		HAL_GPIO_DeInit(GPIO_Ri_C, GPIO_Ri_C_pin);
		GPIO_InitStruct.Pin = GPIO_Ri_C_pin;
		GPIO_InitStruct.Mode = GPIO_MODE_OUTPUT_PP;
		GPIO_InitStruct.Speed = GPIO_SPEED_FREQ_LOW; // mier. parece que si no definis todos los apartados (me faltaba la velocidad) no funciona bien la inicializacion
		HAL_GPIO_Init(GPIO_Ri_C, &GPIO_InitStruct);
		HAL_GPIO_WritePin(GPIO_Ri_C, GPIO_Ri_C_pin, GPIO_PIN_SET);

		HAL_GPIO_DeInit(GPIO_Cref, GPIO_Cref_pin);
		GPIO_InitStruct.Pin = GPIO_Cref_pin;
		GPIO_InitStruct.Mode = GPIO_MODE_OUTPUT_PP;
		GPIO_InitStruct.Speed = GPIO_SPEED_FREQ_LOW; // mier. parece que si no definis todos los apartados (me faltaba la velocidad) no funciona bien la inicializacion
		HAL_GPIO_Init(GPIO_Cref, &GPIO_InitStruct);
		HAL_GPIO_WritePin(GPIO_Cref, GPIO_Cref_pin, GPIO_PIN_RESET);
		break;

	case STAGE_4_C:
		HAL_GPIO_DeInit(GPIO_Cref, GPIO_Cref_pin);
		GPIO_InitStruct.Pin = GPIO_Cref_pin;
		GPIO_InitStruct.Mode = GPIO_MODE_OUTPUT_PP;
		GPIO_InitStruct.Speed = GPIO_SPEED_FREQ_LOW; // mier. parece que si no definis todos los apartados (me faltaba la velocidad) no funciona bien la inicializacion
		HAL_GPIO_Init(GPIO_Cref, &GPIO_InitStruct);
		HAL_GPIO_WritePin(GPIO_Cref, GPIO_Cref_pin, GPIO_PIN_RESET);
		break;
	};
}

uint8_t SSD1306_remap(uint16_t value){
	uint8_t padding = 4; //porque si por ahora
	uint8_t SSD1306_Y_MAX = DIV_4(SSD1306_HEIGHT) + padding; //20
	uint8_t SSD1306_Y_MIN = SSD1306_HEIGHT - padding; // 60

	uint16_t Y_MAX = 12000; // pruebas con potenciometro 10K

	// remapear valor a rango nuevo
	// remap = (V-Min_original) x (MAX_nuevo - Min_nuevo) / (MAX_original - Min_original) + Min_nuevo
	float remap = (float)value *(SSD1306_Y_MAX - SSD1306_Y_MIN)/Y_MAX + SSD1306_Y_MIN;
	return (uint8_t)remap;
}

uint8_t devolverERROR(diagnosticMsg_t diag){
	if((task_DISPLAY_attributes.stack_size - diag.stack_DISPLAY) < ( (task_DISPLAY_attributes.stack_size*STACK_UMBRAL)/100)){
		return alerta_StackDISPLAY;
	}
	if((Task_GUI_attributes.stack_size - diag.stack_PROCESSING) < ( (Task_GUI_attributes.stack_size*STACK_UMBRAL)/100 )){
		return alerta_StackGUI;
	}
	if((Task_DIAGNOSTIC_attributes.stack_size - diag.stack_PROCESSING) < ( (Task_DIAGNOSTIC_attributes.stack_size*STACK_UMBRAL)/100)){
		return alerta_StackDIAGNOSTIC;
	}
	if((Task_PROCESSING_attributes.stack_size - diag.stack_PROCESSING) < ( (Task_PROCESSING_attributes.stack_size*STACK_UMBRAL)/100)){
		return alerta_StackPROCESSING;
	}
	if(diag.libre_HEAP <= HEAP_UMBRAL){
		return alerta_HEAP;
	}
	if(diag.FU >= 100){
		return alerta_FU;
	}
	return alerta_NONE;
}

uint16_t update_adc_average(uint16_t new_value) {

    // 1. Restar el valor más antiguo de la suma continua
    running_sum -= adc_buffer[buffer_index];

    // 2. Guardar el nuevo valor en el buffer en la posición actual
    adc_buffer[buffer_index] = new_value;

    // 3. Sumar el nuevo valor a la suma continua
    running_sum += new_value;

    // 4. Avanzar el índice de forma circular
    // El operador módulo (%) hace que cuando index llegue a 10, vuelva a 0
    buffer_index = (buffer_index + 1) % WINDOW_SIZE;

    // 5. Retornar el promedio
    // Retornamos un entero para mayor eficiencia, pero puedes castear a float si necesitas decimales
    return (uint16_t)(running_sum / WINDOW_SIZE);
}

/* USER CODE END 4 */

void StartTask_DISPLAY(void *argument)
{
  /* USER CODE BEGIN 5 */
	vTaskSetApplicationTaskTag(NULL, (void *) TAG_TASK_DISPLAY);

	SSD1306_Init();
	screenMsg_t msg_rec_GUI;
	diagnosticMsg_t msg_rec_DIAG = {0};
	uint8_t msg_alerta = 0;
	uint16_t resultado = 0;
	char buffer[20] = {0};
	uint8_t buffer_graph[SSD1306_WIDTH];
	memset(buffer_graph, 60, SSD1306_WIDTH);

  /* Infinite loop */
  for(;;)
  {
	  if (osMessageQueueGet(alertaHandle, &msg_alerta, 0, 0) == osOK){
		  SSD1306_GotoXY(20, 20);
		  switch(msg_alerta){
			  case alerta_StackDISPLAY:
				  SSD1306_Clear();
				  SSD1306_Puts("alerta_StackDISPLAY", &Font_7x10, 1);
				  break;
			  case alerta_StackGUI:
				  SSD1306_Clear();
				  SSD1306_Puts("alerta_StackGUI", &Font_7x10, 1);
				  break;
			  case alerta_StackDIAGNOSTIC:
				  SSD1306_Clear();
				  SSD1306_Puts("alerta_StackDIAGNOSTIC", &Font_7x10, 1);
				  break;
			  case alerta_StackPROCESSING:
				  SSD1306_Clear();
				  SSD1306_Puts("alerta_StackPROCESSING", &Font_7x10, 1);
				  break;
			  case alerta_HEAP:
				  SSD1306_Clear();
				  SSD1306_Puts("alerta_HEAP", &Font_7x10, 1);
				  break;
			  case alerta_FU:
				  SSD1306_Clear();
				  SSD1306_Puts("alerta_FU", &Font_7x10, 1);
				  break;
			  default: break;
		  }
	  }
	  else if ( (osMessageQueueGet(myQueue01Handle, &msg_rec_GUI, 0, 0) == osOK)			||
			  	(osMessageQueueGet(process2displayHandle, &resultado, 0, 0) == osOK)		||
				((osMessageQueueGet(diag2displayHandle, &msg_rec_DIAG, 0, 0) == osOK)	&&	(msg_rec_GUI.estado == STATE_DIAGNOSTIC))
	  	  	  	  )
	  {

		  SSD1306_GotoXY(20, 20);

		  SSD1306_DrawFilledRectangle(20, 20, 88, 18, 0);

//		  SSD1306_Clear();
//			SSD1306_Puts("Param.", &Font_11x18, 0);

		  switch (msg_rec_GUI.estado) {
			case STATE_MENU:
				//SSD1306_Puts("MENU", &Font_11x18, 1);
				switch (msg_rec_GUI.pagina) {
					case PAG_CONFIG:
						SSD1306_Clear();
						SSD1306_Puts("Param.", &Font_11x18, 0);

						break;
					case PAG_DIAG:
						SSD1306_Clear();
						SSD1306_Puts("Diagnos.", &Font_11x18, 0);
						break;
					case PAG_RUN:

						switch(param_a_medir_global){

//						SSD1306_DrawLine(0, 32, 128, 32, 1);

						case RESISTENCIA:
							SSD1306_Clear();
							SSD1306_Puts("RUN_R", &Font_11x18, 0);
//							SSD1306_Clear();
							break;
						case CAPACITOR:
							SSD1306_Clear();
							SSD1306_Puts("RUN_C", &Font_11x18, 0);
							break;
						default:
							SSD1306_Clear();
							SSD1306_Puts("RUN", &Font_11x18, 0);
							break;
						}
						break;
				}
				break;

			case STATE_SUBMENU:
//				SSD1306_Puts("SUBMENU", &Font_11x18, 1);
				switch (msg_rec_GUI.pagina) {
					case PAG_RES:
						SSD1306_Clear();
						SSD1306_Puts("R", &Font_11x18, 0);
						break;
					case PAG_CAP:
						SSD1306_Clear();
						SSD1306_Puts("C", &Font_11x18, 0);
						break;
				}
				break;
			case STATE_DIAGNOSTIC:
//				osMessageQueueGet(diag2displayHandle, &msg_rec_DIAG, 0, 0);

				switch (msg_rec_GUI.pagina) {
				case PAG_T1:
					// GUI
					SSD1306_Clear();

					SSD1306_GotoXY(20, 10);
					SSD1306_Puts("GUI", &Font_7x10, 1);
					SSD1306_GotoXY(20, 30);
					snprintf(buffer,sizeof(buffer),"WM: %u",msg_rec_DIAG.WaterMark_GUI);
					SSD1306_Puts(buffer, &Font_7x10, 1);
					SSD1306_GotoXY(20, 40);
					snprintf(buffer,sizeof(buffer),"STACK: %u",msg_rec_DIAG.stack_GUI);
					SSD1306_Puts(buffer, &Font_7x10, 1);
					break;
				case PAG_T2:
					// DISPLAY
//					SSD1306_Puts("T2", &Font_11x18, 1);
					SSD1306_Clear();

					SSD1306_GotoXY(20, 10);
					SSD1306_Puts("DISPLAY", &Font_7x10, 1);
					SSD1306_GotoXY(20, 30);
					snprintf(buffer, sizeof(buffer), "WM: %u",
							msg_rec_DIAG.WaterMark_DISPLAY);
					SSD1306_Puts(buffer, &Font_7x10, 1);
					SSD1306_GotoXY(20, 40);
					snprintf(buffer,sizeof(buffer),"STACK: %u",msg_rec_DIAG.stack_DISPLAY);
					SSD1306_Puts(buffer, &Font_7x10, 1);

					break;
				case PAG_T3:
					//DIAGNOSTICO
//					SSD1306_Puts("T3", &Font_11x18, 1);
					SSD1306_Clear();

					SSD1306_GotoXY(20, 10);
					SSD1306_Puts("DIAGNOSTIC", &Font_7x10, 1);
					SSD1306_GotoXY(20, 30);
					snprintf(buffer, sizeof(buffer), "WM: %u",
							msg_rec_DIAG.WaterMark_DIAGNOSTIC);
					SSD1306_Puts(buffer, &Font_7x10, 1);
					SSD1306_GotoXY(20, 40);
					snprintf(buffer,sizeof(buffer),"STACK: %u",msg_rec_DIAG.stack_DIAGNOSTIC);
					SSD1306_Puts(buffer, &Font_7x10, 1);

					break;
				case PAG_T4:
					//PROCESSING
//					SSD1306_Puts("T4", &Font_11x18, 1);
					SSD1306_Clear();

					SSD1306_GotoXY(20, 10);
					SSD1306_Puts("PROCESSING", &Font_7x10, 1);
					SSD1306_GotoXY(20, 30);
					snprintf(buffer, sizeof(buffer), "WM: %u",
							msg_rec_DIAG.WaterMark_PROCESSING);
					SSD1306_Puts(buffer, &Font_7x10, 1);
					SSD1306_GotoXY(20, 40);
					snprintf(buffer,sizeof(buffer),"STACK: %u",msg_rec_DIAG.stack_PROCESSING);
					SSD1306_Puts(buffer, &Font_7x10, 1);
					break;
				case PAG_HEAP:
					SSD1306_Clear();

					SSD1306_GotoXY(20, 10);
					SSD1306_Puts("Heap", &Font_7x10, 1);
					SSD1306_GotoXY(20, 30);
					snprintf(buffer, sizeof(buffer), "max: %u",
							msg_rec_DIAG.max_HEAP);
					SSD1306_Puts(buffer, &Font_7x10, 1);
					SSD1306_GotoXY(20, 40);
					snprintf(buffer, sizeof(buffer), "%u",msg_rec_DIAG.libre_HEAP);
					SSD1306_Puts(buffer, &Font_7x10, 1);
					break;
				case PAG_FACU:
					SSD1306_Clear();

					SSD1306_GotoXY(20, 10);
					SSD1306_Puts("FACU", &Font_7x10, 1);
					SSD1306_GotoXY(20, 30);
					snprintf(buffer, sizeof(buffer), "max: %u",
							msg_rec_DIAG.max_FU);
					SSD1306_Puts(buffer, &Font_7x10, 1);
					SSD1306_GotoXY(20, 40);
					snprintf(buffer, sizeof(buffer), "%u",msg_rec_DIAG.FU);
					SSD1306_Puts(buffer, &Font_7x10, 1);
					break;

				}
				break;

			case STATE_RUN:
//				osMessageQueueGet(process2displayHandle, &resultado, 0, 0);

//				SSD1306_Clear();
				SSD1306_DrawFilledRectangle(50, 5, 78, 60, 0);

				SSD1306_GotoXY(50, 5);

//				SSD1306_Puts(buffer, &Font_7x10, SSD1306_COLOR_BLACK);

				snprintf(buffer,sizeof(buffer),"%u",resultado);
				SSD1306_GotoXY(50, 5);
				SSD1306_Puts(buffer, &Font_7x10, SSD1306_COLOR_WHITE);

				// ============= TODO ==============
				//Esto podria hacerse una vez y listo
				SSD1306_DrawLine(0, DIV_4(SSD1306_HEIGHT), SSD1306_WIDTH, DIV_4(SSD1306_HEIGHT), SSD1306_COLOR_WHITE); // (x0,y0,x1,y1,color)
				// =================================

				// grafica

				for (int i = 0; i < (SSD1306_WIDTH - 1); i++) {
					SSD1306_DrawPixel(i, buffer_graph[i], SSD1306_COLOR_BLACK);
				}
				for (int i = 0; i < (SSD1306_WIDTH - 1); i++) {
					buffer_graph[i] = buffer_graph[i + 1]; // El valor de la derecha se mueve a la izquierda
				}
				buffer_graph[SSD1306_WIDTH - 1] = SSD1306_remap(resultado);

				for (int i = 0; i < (SSD1306_WIDTH - 1); i++) {
					SSD1306_DrawPixel(i, buffer_graph[i], SSD1306_COLOR_WHITE);
				}

//				SSD1306_UpdateScreen();
				break;

			default: break;
		}
//		  SSD1306_UpdateScreen();
	  }
	  SSD1306_UpdateScreen();

    osDelay(50); //20 fps -> 1/20 = 50ms
  }
  /* USER CODE END 5 */
}

void StartTask_GUI(void *argument)
{
  /* USER CODE BEGIN StartTask_GUI */
	vTaskSetApplicationTaskTag(NULL, (void *) TAG_TASK_GUI);

	FSMState estado_actual = STATE_IDLE;
	FSMState estado_anterior;	// = STATE_ERROR; // Forzamos disparar el primer envío
	FSMEvent evento = EVENT_NINGUNO;
	screenMsg_t msg_pantalla;

	// Inicializamos el modo Encoder del Timer por Hardware
	HAL_TIM_Encoder_Start(&htim2, TIM_CHANNEL_ALL);

  /* Infinite loop */
  for(;;)
  {
		// 1. Leer el encoder y botón
		evento = Leer_Hardware_Encoder();
//		// 2. Consultar si Diagnóstico inyectó una alerta de forma asrincrónica
//		extern volatile uint8_t Alerta_Diagnostico_Activa; // Bandera global de la otra tarea
//		if (Alerta_Diagnostico_Activa == 1) {
//			evento = EVENT_ERROR;
//			Alerta_Diagnostico_Activa = 0;
//		}
//		osDelay(20);

		// 3. Si pasó algo, procesamos y notificamos
		if (evento != EVENT_NINGUNO) {
			estado_anterior = estado_actual;
			estado_actual = fsm_process_event(estado_actual, evento);

			// Sincronización: Al ENTRAR a modo RUN, cargamos el semáforo inicial
			if (estado_actual == STATE_RUN && estado_anterior != STATE_RUN) {
				osSemaphoreRelease(myCountingSem01Handle);
			}

			// Sincronización: Al SALIR de modo RUN, vaciamos el semáforo para frenar el ADC
			if (estado_actual != STATE_RUN && estado_anterior == STATE_RUN) {
				osSemaphoreAcquire(myCountingSem01Handle, 0); // Consumo inmediato sin bloquear
			}

			// Preparamos el paquete de datos para la pantalla
			msg_pantalla.estado = estado_actual;
			msg_pantalla.pagina = page;

			// Se lo mandamos a la cola de la pantalla (espera 0, no bloquea la GUI)
	osMessageQueuePut(myQueue01Handle, &msg_pantalla, 0, 0);
		}

		// 30ms de Delay: Filtra rebotes y asegura respuestas menores a 20ms
		osDelay(GUI_PERIODO_MS);

  }
  /* USER CODE END StartTask_GUI */
}

void StartTask_DIAGNOSTIC(void *argument)
{
  /* USER CODE BEGIN StartTask_DIAGNOSTIC */
	vTaskSetApplicationTaskTag(NULL, (void *) TAG_TASK_DIAGNOSTIC);

	diagnosticMsg_t diagnostic = {0};
	uint8_t alerta = 0;
//	vTaskGetInfo(xTask, pxTaskStatus, xGetFreeStackSpace, eState)
	TaskStatus_t xTaskDetails;
	StackType_t *pxTopOfStack;
	StackType_t *pxStartOfStack;

	// FU
	uint32_t copia_ticks_idle = 0;
	float factor_utilidad = 0;
	uint16_t FU_acumulado = 0;
	uint8_t i = 0;
//	uint32_t factor_promedio = 0;
//	uint32_t fu_entero = 0;
  /* Infinite loop */
  for(;;)
  {
		// watermark
		diagnostic.WaterMark_DISPLAY = osThreadGetStackSpace(task_DISPLAYHandle);
		// stack libre
		vTaskGetInfo(task_DISPLAYHandle, &xTaskDetails, pdTRUE, eInvalid);
		pxTopOfStack = *(StackType_t**) xTaskDetails.xHandle; //doble casteo de puntero
		pxStartOfStack = xTaskDetails.pxStackBase;
		diagnostic.stack_DISPLAY = (uint32_t) pxTopOfStack	- (uint32_t) pxStartOfStack;

		// watermark
		diagnostic.WaterMark_DIAGNOSTIC = osThreadGetStackSpace(Task_DIAGNOSTICHandle);
		// stack libre
		vTaskGetInfo(Task_DIAGNOSTICHandle, &xTaskDetails, pdTRUE, eInvalid);
		pxTopOfStack = *(StackType_t**) xTaskDetails.xHandle; //doble casteo de puntero
		pxStartOfStack = xTaskDetails.pxStackBase;
		diagnostic.stack_DIAGNOSTIC = (uint32_t) pxTopOfStack	- (uint32_t) pxStartOfStack;

		// watermark
		diagnostic.WaterMark_GUI = osThreadGetStackSpace(Task_GUIHandle);
		// stack libre
		vTaskGetInfo(Task_GUIHandle, &xTaskDetails, pdTRUE, eInvalid);
		pxTopOfStack = *(StackType_t**) xTaskDetails.xHandle; //doble casteo de puntero
		pxStartOfStack = xTaskDetails.pxStackBase;
		diagnostic.stack_GUI = (uint32_t) pxTopOfStack	- (uint32_t) pxStartOfStack;

		// watermark
		diagnostic.WaterMark_PROCESSING = osThreadGetStackSpace(Task_PROCESSINGHandle);
		// stack libre
		vTaskGetInfo(Task_PROCESSINGHandle, &xTaskDetails, pdTRUE, eInvalid);
		pxTopOfStack = *(StackType_t**) xTaskDetails.xHandle; //doble casteo de puntero
		pxStartOfStack = xTaskDetails.pxStackBase;
		diagnostic.stack_PROCESSING = (uint32_t) pxTopOfStack	- (uint32_t) pxStartOfStack;

		diagnostic.libre_HEAP = xPortGetFreeHeapSize(); // ya en bytes

		// 1. Limpieza y Clamping
		copia_ticks_idle = ticks_idle_acumulados;
		ticks_idle_acumulados = 0; //resetea la variable que marca los ticks al salir de callback_out

		if (copia_ticks_idle > 50) copia_ticks_idle = 50; // Límite ahora es 50 ticks

		// 2. Cálculo de utilización
		// Antes multiplicabas por 10 (base 100). Ahora, para llegar a base 1000:
		// (copia_ticks_idle / 50) * 1000  =>  equivale a  (copia_ticks_idle * 20)
//		factor_utilidad = 1000 - (copia_ticks_idle * 20);

		// El resto del filtro EMA sigue igual:
//		factor_promedio = ((factor_utilidad * 1) + (factor_promedio * 9)) / 10;
//		factor_promedio = factor_promedio +(factor_utilidad - factor_promedio);
//		fu_entero = factor_promedio / 10;
//		diagnostic.FU = fu_entero;

		factor_utilidad = (float)50 - (float)copia_ticks_idle;
		factor_utilidad = (factor_utilidad/(float)50)*100;

		FU_acumulado += (uint16_t)factor_utilidad;
		i++;
		if(i == 30){
			FU_acumulado = FU_acumulado/i;
			diagnostic.FU = FU_acumulado;

			FU_acumulado = 0;
			i=0;
		}
//		diagnostic.FU = (uint16_t)factor_utilidad;

		if((alerta = devolverERROR(diagnostic)) != alerta_NONE){
			osMessageQueuePut(alertaHandle, &alerta, 0, 0);

		}

		if(diagnostic.max_FU < diagnostic.FU){
				diagnostic.max_FU = diagnostic.FU;}
		if(diagnostic.max_HEAP < diagnostic.libre_HEAP){
				diagnostic.max_HEAP = diagnostic.libre_HEAP;}

		osMessageQueuePut(diag2displayHandle, &diagnostic, 0, 0);
		osDelay(DIAG_PERIODO_MS);
  }
  /* USER CODE END StartTask_DIAGNOSTIC */
}

void StartTask_PROCESSING(void *argument)
{
  /* USER CODE BEGIN StartTask_PROCESSING */
	vTaskSetApplicationTaskTag(NULL, (void *) TAG_TASK_PROCESSING);

	volatile uint16_t ADC_val = 0;
	volatile stage_t stage = STAGE_1;
	parametro_t ultimo_modo = NONE; // falg para entrada 1ra vez
//	volatile uint8_t count_Nx = 0;
//	volatile uint8_t count_Nc = 0;
//	uint16_t resultado = 0;

	volatile float count_Nx = 0;
	volatile float count_Nc = 0;
	volatile uint16_t resultado = 0;
	HAL_ADC_Start(&hadc1);
//	HAL_ADC_Start(&hadc2);

  /* Infinite loop */
  for(;;)
  {
			switch (param_a_medir_global) {
			case RESISTENCIA:
				switch (stage) {
					case STAGE_1:		//STAGE_1: CARGA DEL CIRCUITO DURANTE TAU=5*R_I*C
						if(ultimo_modo != RESISTENCIA ){
							ultimo_modo = RESISTENCIA;
							ADC_val = 0;

							set_all_hiz();
							adj_GPIO(STAGE_1_R);

							// pico para saber cuanto tarda en completar la etapa
							HAL_GPIO_WritePin(GPIOA, GPIO_PIN_9, GPIO_PIN_SET);
							HAL_GPIO_WritePin(GPIOA, GPIO_PIN_9, GPIO_PIN_RESET);

						}

						HAL_ADC_PollForConversion(&hadc1, HAL_MAX_DELAY);
						ADC_val = HAL_ADC_GetValue(&hadc1);

						if (ADC_val > ADC_95) {
							stage = STAGE_2;
							ADC_val = 0;

							set_all_hiz();
							adj_GPIO(STAGE_2_R);
							HAL_TIM_Base_Start_IT(&htim3);

						}
						break;
					case STAGE_2:		//STAGE_2: DESCARGA DEL RC Y MEDICIÓN DEL TIEMPO DE DESCARGA NX

						// Primer if soluciona problemas offset (maso)
						if (ADC_val == 0){  					//
							ADC_val = 1;						//
							counter_global = 0;					//
							__HAL_TIM_SET_COUNTER(&htim3, 0); 	// resetea timer
						}

						HAL_ADC_PollForConversion(&hadc1, HAL_MAX_DELAY);
						ADC_val = HAL_ADC_GetValue(&hadc1);

						if(ADC_val < ADC_02){
							HAL_TIM_Base_Stop_IT(&htim3);

							count_Nx = counter_global;
							counter_global = 0;

							set_all_hiz();
							adj_GPIO(STAGE_3_R);

							ADC_val = 0;
							stage = STAGE_3;
						}
						break;
					case STAGE_3:		//STAGE_3: CARGA DEL R_I*C NUEVAMENTE

						HAL_ADC_PollForConversion(&hadc1, HAL_MAX_DELAY);
						ADC_val = HAL_ADC_GetValue(&hadc1);

						if (ADC_val > ADC_95) {
							stage = STAGE_4;
							ADC_val = 0;

							set_all_hiz();
							adj_GPIO(STAGE_4_R);
							HAL_TIM_Base_Start_IT(&htim3);
						}
						break;
					case STAGE_4:		//STAGE_4: DESCARGA DEL RC Y MEDICIÓN DEL TIEMPO DE DESCARGA NC

						// Primer if soluciona problemas offset (maso)
						if (ADC_val == 0) {  					//
							ADC_val = 1;						//
							counter_global = 0;					//
						__HAL_TIM_SET_COUNTER(&htim3, 0); 	// resetea timer
						}

						HAL_ADC_PollForConversion(&hadc1, HAL_MAX_DELAY);
						ADC_val = HAL_ADC_GetValue(&hadc1);

						if (ADC_val < ADC_02) {
							HAL_TIM_Base_Stop_IT(&htim3);

							count_Nc = counter_global;
							counter_global = 0;

							set_all_hiz();

							ADC_val = 0;
							ultimo_modo = NONE;

							stage = STAGE_1;
							count_Nx_global = count_Nx;
							count_Nc_global = count_Nc;
							resultado = ((count_Nx/count_Nc)*(float)10000); //(Nx/Nc)*R_c1
							resultado_global = resultado;

							resultado = update_adc_average(resultado);
							// pico para saber cuanto tarda en completar la etapa
							HAL_GPIO_WritePin(GPIOA, GPIO_PIN_9, GPIO_PIN_SET);
							HAL_GPIO_WritePin(GPIOA, GPIO_PIN_9, GPIO_PIN_RESET);
							osMessageQueuePut(process2displayHandle, &resultado, 0, 0);
//							osDelay();
						}
						break;
					}
				break;

			case CAPACITOR:
				 switch (stage) {
					case STAGE_1:
						if (ultimo_modo != CAPACITOR ) {
							ultimo_modo = CAPACITOR;
							ADC_val = 0;
							set_all_hiz();
							adj_GPIO(STAGE_1_C);

							// pico para saber cuanto tarda en completar la etapa
							HAL_GPIO_WritePin(GPIOA, GPIO_PIN_9, GPIO_PIN_SET);
							HAL_GPIO_WritePin(GPIOA, GPIO_PIN_9, GPIO_PIN_RESET);

						}

//						HAL_ADC_PollForConversion(&hadc2, HAL_MAX_DELAY);
//						ADC_val = HAL_ADC_GetValue(&hadc2);
						HAL_ADC_Start(&hadc2);
						HAL_ADC_PollForConversion(&hadc2, HAL_MAX_DELAY);
						ADC_val = HAL_ADC_GetValue(&hadc2);
						HAL_ADC_Stop(&hadc2);

						if (ADC_val > ADC_95) {
							stage = STAGE_2;
							ADC_val = 0;

							set_all_hiz();
							adj_GPIO(STAGE_2_C);
							HAL_TIM_Base_Start_IT(&htim3);

						}

						break;
					case STAGE_2:
						// Primer if soluciona problemas offset (maso)
						if (ADC_val == 0){  					//
							ADC_val = 1;						//
							counter_global = 0;					//
							__HAL_TIM_SET_COUNTER(&htim3, 0); 	// resetea timer
						}

//						HAL_ADC_POLLFORCONVERSION(&HADC2, HAL_MAX_DELAY);
//						ADC_VAL = HAL_ADC_GETVALUE(&HADC2);
						HAL_ADC_Start(&hadc2);
						HAL_ADC_PollForConversion(&hadc2, HAL_MAX_DELAY);
						ADC_val = HAL_ADC_GetValue(&hadc2);
						HAL_ADC_Stop(&hadc2);

						if(ADC_val < ADC_02){
							HAL_TIM_Base_Stop_IT(&htim3);

							count_Nx = counter_global;
							counter_global = 0;

							set_all_hiz();
							adj_GPIO(STAGE_3_C);

							ADC_val = 0;
							stage = STAGE_3;
						}
						break;

					case STAGE_3:
//						HAL_ADC_PollForConversion(&hadc2, HAL_MAX_DELAY);
//						ADC_val = HAL_ADC_GetValue(&hadc2);

						HAL_ADC_Start(&hadc2);
						HAL_ADC_PollForConversion(&hadc2, HAL_MAX_DELAY);
						ADC_val = HAL_ADC_GetValue(&hadc2);
						HAL_ADC_Stop(&hadc2);

						if (ADC_val > ADC_95) {
							stage = STAGE_4;
							ADC_val = 0;

							set_all_hiz();
							adj_GPIO(STAGE_4_C);
							HAL_TIM_Base_Start_IT(&htim3);
						}
						break;
					case STAGE_4:
						// Primer if soluciona problemas offset (maso)
						if (ADC_val == 0) {  					//
							ADC_val = 1;						//
							counter_global = 0;					//
						__HAL_TIM_SET_COUNTER(&htim3, 0); 	// resetea timer
						}

//						HAL_ADC_PollForConversion(&hadc2, HAL_MAX_DELAY);
//						ADC_val = HAL_ADC_GetValue(&hadc2);
						HAL_ADC_Start(&hadc2);
						HAL_ADC_PollForConversion(&hadc2, HAL_MAX_DELAY);
						ADC_val = HAL_ADC_GetValue(&hadc2);
						HAL_ADC_Stop(&hadc2);

						if (ADC_val < ADC_02) {
							HAL_TIM_Base_Stop_IT(&htim3);

							count_Nc = counter_global;
							counter_global = 0;

							set_all_hiz();

							ADC_val = 0;
							ultimo_modo = NONE;

							stage = STAGE_1;
							count_Nx_global = count_Nx;
							count_Nc_global = count_Nc;
							resultado = ((count_Nx/count_Nc)*(float)100); //(Nx/Nc)*R_c1
							resultado_global = resultado;

							// pico para saber cuanto tarda en completar la etapa
							HAL_GPIO_WritePin(GPIOA, GPIO_PIN_9, GPIO_PIN_SET);
							HAL_GPIO_WritePin(GPIOA, GPIO_PIN_9, GPIO_PIN_RESET);
							osMessageQueuePut(process2displayHandle, &resultado, 0, 0);
//							osDelay();
						}
						break;
				}
			break;

			  case NONE:
				  stage = STAGE_1;
				  ultimo_modo = NONE;
				  osSemaphoreAcquire(myCountingSem01Handle, osWaitForever);
			  	  break;
	  	  }
    osDelay(1);
  }
  /* USER CODE END StartTask_PROCESSING */
}

void HAL_TIM_PeriodElapsedCallback(TIM_HandleTypeDef *htim)
{
  /* USER CODE BEGIN Callback 0 */
	if (htim->Instance == TIM3)
	{
		counter_global++;
	}

  /* USER CODE END Callback 0 */
  if (htim->Instance == TIM4)
  {
    HAL_IncTick();
  }
}

void Error_Handler(void)
{
  __disable_irq();
  while (1)
  {
  }
}

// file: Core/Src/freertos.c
/* USER CODE BEGIN Header */
/**
  ******************************************************************************
  * File Name          : freertos.c
  * Description        : Code for freertos applications
  ******************************************************************************
  * @attention
  *
  * Copyright (c) 2026 STMicroelectronics.
  * All rights reserved.
  *
  * This software is licensed under terms that can be found in the LICENSE file
  * in the root directory of this software component.
  * If no LICENSE file comes with this software, it is provided AS-IS.
  *
  ******************************************************************************
  */
/* USER CODE END Header */

#include "FreeRTOS.h"
#include "task.h"
#include "main.h"

/* Hook prototypes */
void vApplicationIdleHook(void);
void vApplicationStackOverflowHook(xTaskHandle xTask, signed char *pcTaskName);

/* USER CODE BEGIN 2 */
void vApplicationIdleHook( void )
{
   /* vApplicationIdleHook() will only be called if configUSE_IDLE_HOOK is set
   to 1 in FreeRTOSConfig.h. It will be called on each iteration of the idle
   task. It is essential that code added to this hook function never attempts
   to block in any way (for example, call xQueueReceive() with a block time
   specified, or call vTaskDelay()). If the application makes use of the
   vTaskDelete() API function (as this demo application does) then it is also
   important that vApplicationIdleHook() is permitted to return to its calling
   function, because it is the responsibility of the idle task to clean up
   memory allocated by the kernel to any task that has since been deleted. */
//	HAL_GPIO_TogglePin(GPIOA, GPIO_PIN_8);
}
/* USER CODE END 2 */

/* USER CODE BEGIN 4 */
void vApplicationStackOverflowHook(xTaskHandle xTask, signed char *pcTaskName)
{
   /* Run time stack overflow checking is performed if
   configCHECK_FOR_STACK_OVERFLOW is defined to 1 or 2. This hook function is
   called if a stack overflow is detected. */
}
/* USER CODE END 4 */
